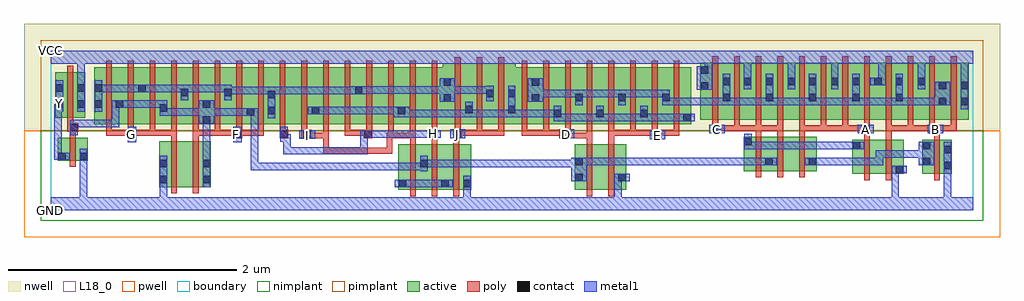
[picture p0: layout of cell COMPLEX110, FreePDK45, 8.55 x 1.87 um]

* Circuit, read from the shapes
.subckt COMPLEX110 A B C D E F G GND H I J VCC Y
M1 GND n1 Y VSUBS nfet w=0.2u l=0.05u
M2 n2 G GND VSUBS nfet w=0.4u l=0.05u
M3 n1 F n2 VSUBS nfet w=0.4u l=0.05u
M4 n1 I n3 VSUBS nfet w=0.4u l=0.05u
M5 n3 H n1 VSUBS nfet w=0.4u l=0.05u
M6 GND J n3 VSUBS nfet w=0.4u l=0.05u
M7 n4 D n1 VSUBS nfet w=0.4u l=0.05u
M8 GND E n4 VSUBS nfet w=0.4u l=0.05u
M9 n1 C n5 VSUBS nfet w=0.3u l=0.05u
M10 n6 C n1 VSUBS nfet w=0.3u l=0.05u
M11 n7 A n6 VSUBS nfet w=0.3u l=0.05u
M12 n8 A n5 VSUBS nfet w=0.3u l=0.05u
M13 GND B n8 VSUBS nfet w=0.3u l=0.05u
M14 GND B n7 VSUBS nfet w=0.3u l=0.05u
M15 VCC n1 Y n9 pfet w=0.4u l=0.05u
M16 n1 G n10 n9 pfet w=0.5u l=0.05u m=4
M17 n1 F n10 n9 pfet w=0.5u l=0.05u m=4
M18 n11 H n10 n9 pfet w=0.5u l=0.05u
M19 n12 I n11 n9 pfet w=0.5u l=0.05u
M20 n13 I n12 n9 pfet w=0.5u l=0.05u
M21 n10 H n13 n9 pfet w=0.5u l=0.05u
M22 n14 H n10 n9 pfet w=0.5u l=0.05u
M23 n12 I n14 n9 pfet w=0.5u l=0.05u
M24 n15 I n12 n9 pfet w=0.5u l=0.05u
M25 n10 H n15 n9 pfet w=0.5u l=0.05u
M26 n12 J n10 n9 pfet w=0.532u l=0.05u m=3
M27 n16 D n12 n9 pfet w=0.5u l=0.05u m=4
M28 n16 E n12 n9 pfet w=0.5u l=0.05u m=4
M29 n16 C VCC n9 pfet w=0.5u l=0.05u m=4
M30 n16 A VCC n9 pfet w=0.5u l=0.05u m=4
M31 n16 B VCC n9 pfet w=0.5u l=0.05u m=4
.ends

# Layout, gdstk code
import gdstk
lib = gdstk.Library(unit=1e-6, precision=1e-09)
def R(c, l, rs):  # rectangles x0, y0, x1, y1
    for r in rs: c.add(gdstk.rectangle(r[:2], r[2:], *l))
def A(c, l, x, y, w, h, nx, ny, dx, dy):  # array of equal rectangles
    R(c, l, [(x+i*dx, y+j*dy, x+i*dx+w, y+j*dy+h) for i in range(nx) for j in range(ny)])
active = (1, 0)
pwell = (2, 0)
nwell = (3, 0)
nimplant = (4, 0)
pimplant = (5, 0)
poly = (9, 0)
contact = (10, 0)
metal1 = (11, 0)
L18_0 = (18, 0)
boundary = (235, 0)

complex110 = lib.new_cell('COMPLEX110')
A(complex110, active, 1.135, 0.755, 0.075, 0.445, 3, 1, 0.38, 0)
A(complex110, active, 6.45, 0.795, 0.075, 0.5, 4, 1, 0.38, 0)
A(complex110, active, 6.45, 0.795, 0.26, 0.5, 4, 1, 0.38, 0)
A(complex110, active, 6.635, 0.795, 0.075, 0.405, 4, 1, 0.38, 0)
A(complex110, active, 6.635, 0.795, 0.27, 0.5, 3, 1, 0.38, 0)
R(complex110, active, [(3.042,0.18,3.307,0.58), (3.232,0.18,3.492,0.58), (3.417,0.18,3.682,0.58), (3.607,0.18,3.682,0.58), (4.59,0.18,4.815,0.58), (4.815,0.18,5.04,0.58), (4.965,0.18,5.04,0.58), (3.042,0.2,3.117,0.58), (3.417,0.2,3.492,0.492), (4.59,0.2,4.665,0.58), (0.95,0.205,1.025,0.605), (0.95,0.205,1.175,0.605), (1.175,0.205,1.4,0.605), (1.325,0.205,1.4,0.605), (3.232,0.245,3.307,0.492), (7.02,0.32,7.245,0.62), (7.245,0.32,7.47,0.62), (7.395,0.32,7.47,0.62), (7.632,0.32,7.707,0.62), (7.632,0.32,7.892,0.62), (7.817,0.32,7.892,0.62), (7.02,0.33,7.095,0.62), (6.07,0.345,6.145,0.645), (6.07,0.345,6.33,0.645), (6.255,0.345,6.485,0.645), (6.255,0.345,6.33,0.467), (6.485,0.345,6.71,0.645), (6.635,0.345,6.71,0.645), (0.062,0.437,0.137,0.637), (0.062,0.437,0.322,0.637), (0.247,0.437,0.322,0.637), (0.38,0.755,0.64,1.255), (0.38,0.755,0.455,1.2), (0.565,0.755,0.835,1.255), (0.565,0.755,0.64,1.07), (0.76,0.755,1.025,1.255), (0.76,0.755,0.835,1.2), (0.95,0.755,1.21,1.255), (0.95,0.755,1.025,1.07), (1.135,0.755,1.4,1.255), (1.325,0.755,1.59,1.255), (1.325,0.755,1.4,1.07), (1.515,0.755,1.785,1.255), (1.71,0.755,1.97,1.255), (1.71,0.755,1.785,1.07), (1.895,0.755,2.125,1.255), (2.125,0.755,2.355,1.255), (2.28,0.755,2.355,1.07), (2.28,0.755,2.505,1.255), (2.505,0.755,2.735,1.255), (2.66,0.755,2.735,1.2), (2.66,0.755,2.885,1.255), (2.885,0.755,3.11,1.255), (3.035,0.755,3.11,1.07), (3.035,0.755,3.265,1.255), (3.265,0.755,3.51,1.255), (3.435,0.755,3.7,1.287), (3.625,0.755,3.7,1.07), (3.625,0.755,3.885,1.287), (3.81,0.755,3.885,1.2), (3.81,0.755,4.075,1.287), (4,0.755,4.075,1.2), (4,0.755,4.285,1.255), (4.21,0.755,4.475,1.255), (4.21,0.755,4.285,1.2), (4.4,0.755,4.665,1.255), (4.4,0.755,4.475,1.07), (4.59,0.755,4.85,1.255), (4.59,0.755,4.665,1.2), (4.775,0.755,5.04,1.255), (4.775,0.755,4.85,1.07), (4.965,0.755,5.235,1.255), (4.965,0.755,5.04,1.2), (5.16,0.755,5.425,1.255), (5.16,0.755,5.235,1.07), (5.35,0.755,5.61,1.255), (5.35,0.755,5.425,1.2), (5.535,0.755,5.61,1.047), (5.69,0.795,5.955,1.295), (5.88,0.795,5.955,1.2), (5.88,0.795,6.14,1.295), (6.065,0.795,6.14,1.295), (6.065,0.795,6.335,1.295), (6.26,0.795,6.525,1.295), (6.26,0.795,6.335,1.2), (7.775,0.795,8.04,1.295), (7.965,0.795,8.04,1.295), (3.435,0.807,3.51,1.2), (5.69,0.807,5.765,1.295), (0.04,0.812,0.3,1.212), (0.04,0.812,0.115,1.155), (0.225,0.812,0.3,1.212)])
R(complex110, pwell, [(-0.235,-0.235,8.315,0.7)])
R(complex110, nwell, [(-0.235,0.7,8.315,1.635)])
R(complex110, nimplant, [(-0.09,-0.09,8.17,0.7)])
R(complex110, pimplant, [(-0.09,0.7,8.17,1.49)])
A(complex110, poly, 3.147, 0.125, 0.05, 0.51, 3, 1, 0.19, 0)
A(complex110, poly, 6.175, 0.29, 0.05, 0.41, 3, 1, 0.19, 0)
A(complex110, poly, 3.147, 0.585, 0.05, 0.095, 3, 1, 0.19, 0)
A(complex110, poly, 6.175, 0.65, 0.05, 0.095, 3, 1, 0.19, 0)
A(complex110, poly, 0.485, 0.655, 0.05, 0.095, 10, 1, 0.19, 0)
A(complex110, poly, 0.485, 0.655, 0.24, 0.05, 4, 1, 0.38, 0)
A(complex110, poly, 1.055, 0.655, 0.05, 0.05, 3, 1, 0.19, 0)
A(complex110, poly, 3.54, 0.655, 0.05, 0.095, 3, 1, 0.19, 0)
A(complex110, poly, 4.125, 0.655, 0.05, 0.095, 3, 1, 0.19, 0)
A(complex110, poly, 4.885, 0.655, 0.05, 0.095, 4, 1, 0.19, 0)
A(complex110, poly, 5.795, 0.695, 0.05, 0.095, 12, 1, 0.19, 0)
A(complex110, poly, 6.175, 0.695, 0.05, 0.05, 3, 1, 0.19, 0)
A(complex110, poly, 6.555, 0.695, 0.05, 0.05, 3, 1, 0.19, 0)
A(complex110, poly, 0.485, 0.7, 0.05, 0.61, 16, 1, 0.19, 0)
A(complex110, poly, 3.54, 0.7, 0.05, 0.642, 3, 1, 0.19, 0)
A(complex110, poly, 4.125, 0.7, 0.05, 0.61, 8, 1, 0.19, 0)
A(complex110, poly, 5.795, 0.74, 0.05, 0.61, 12, 1, 0.19, 0)
R(complex110, poly, [(4.695,0.125,4.745,0.635), (4.885,0.125,4.935,0.635), (1.055,0.15,1.105,0.66), (1.245,0.15,1.295,0.66), (7.125,0.265,7.175,0.675), (7.315,0.265,7.365,0.675), (7.737,0.265,7.787,0.675), (0.167,0.382,0.217,0.692), (2.385,0.497,2.435,0.547), (2.385,0.497,2.435,0.547), (2.385,0.497,2.435,0.547), (2.385,0.497,2.435,0.547), (2.385,0.497,2.435,0.547), (2.385,0.497,2.435,0.68), (2.385,0.497,2.567,0.547), (2.517,0.497,2.567,0.547), (2.517,0.497,2.86,0.547), (2.81,0.497,2.86,0.547), (2.81,0.497,2.86,0.547), (2.81,0.497,2.86,0.547), (2.81,0.497,2.992,0.547), (2.942,0.497,2.992,0.547), (2.942,0.497,2.992,0.547), (2.942,0.497,2.992,0.547), (2.942,0.497,2.992,0.68), (4.695,0.585,4.745,0.68), (4.885,0.585,4.935,0.705), (1.055,0.61,1.105,0.705), (1.245,0.61,1.295,0.705), (7.125,0.625,7.175,0.72), (7.315,0.625,7.365,0.745), (7.737,0.625,7.787,0.72), (0.675,0.63,0.75,0.705), (1.6,0.63,1.675,0.705), (2.005,0.63,2.08,0.705), (2.195,0.63,2.28,0.705), (2.23,0.63,2.28,0.68), (2.23,0.63,2.28,0.68), (2.23,0.63,2.435,0.68), (2.385,0.63,2.435,0.68), (2.385,0.63,2.435,0.75), (2.74,0.63,2.815,0.705), (2.942,0.63,2.992,0.68), (2.942,0.63,2.992,0.68), (2.942,0.63,3.005,0.68), (2.955,0.63,3.195,0.68), (2.955,0.63,3.005,0.75), (3.145,0.63,3.195,0.68), (3.145,0.63,3.195,0.68), (3.145,0.63,3.195,0.75), (3.145,0.63,3.197,0.68), (3.312,0.63,3.387,0.705), (3.527,0.63,3.602,0.705), (4.482,0.63,4.557,0.705), (4.507,0.63,4.745,0.68), (4.695,0.63,4.745,0.68), (4.695,0.63,4.745,0.68), (4.695,0.63,4.745,0.68), (4.695,0.63,4.745,0.75), (5.265,0.63,5.352,0.705), (0.167,0.642,0.217,0.737), (0.485,0.655,0.535,0.705), (0.485,0.655,0.535,0.705), (0.485,0.655,0.535,0.705), (0.7,0.655,0.915,0.705), (0.865,0.655,0.915,0.705), (0.865,0.655,0.915,0.705), (0.865,0.655,0.915,0.705), (1.055,0.655,1.105,0.705), (1.055,0.655,1.105,0.705), (1.435,0.655,1.485,0.705), (1.435,0.655,1.485,0.705), (1.435,0.655,1.65,0.705), (1.6,0.655,1.65,0.705), (1.6,0.655,1.65,0.705), (1.815,0.655,1.865,0.705), (1.815,0.655,1.865,0.705), (1.815,0.655,1.865,0.705), (2.575,0.655,2.625,0.75), (2.575,0.655,2.625,0.705), (2.575,0.655,2.625,0.705), (2.575,0.655,2.625,0.705), (2.575,0.655,2.79,0.705), (2.765,0.655,2.815,0.75), (3.335,0.655,3.385,0.75), (3.552,0.655,3.602,0.705), (3.552,0.655,3.602,0.705), (3.552,0.655,3.78,0.705), (3.73,0.655,3.78,0.705), (3.73,0.655,3.97,0.705), (3.92,0.655,3.97,0.705), (3.92,0.655,3.97,0.705), (3.92,0.655,3.97,0.705), (4.125,0.655,4.175,0.705), (4.125,0.655,4.175,0.705), (4.125,0.655,4.175,0.705), (4.125,0.655,4.365,0.705), (4.315,0.655,4.365,0.705), (4.315,0.655,4.365,0.705), (4.315,0.655,4.365,0.705), (4.315,0.655,4.532,0.705), (4.885,0.655,4.935,0.705), (4.885,0.655,5.125,0.705), (5.075,0.655,5.125,0.705), (5.075,0.655,5.125,0.705), (5.075,0.655,5.125,0.705), (5.075,0.655,5.315,0.705), (5.265,0.655,5.315,0.705), (5.265,0.655,5.315,0.705), (5.302,0.655,5.505,0.705), (5.455,0.655,5.505,0.705), (5.455,0.655,5.505,0.705), (5.455,0.655,5.505,0.705), (5.795,0.67,5.872,0.745), (7.1,0.67,7.175,0.745), (7.695,0.67,7.787,0.745), (0.145,0.687,0.24,0.762), (5.822,0.695,5.872,0.745), (5.822,0.695,5.872,0.745), (5.822,0.695,6.035,0.745), (5.985,0.695,6.035,0.745), (5.985,0.695,6.035,0.745), (5.985,0.695,6.035,0.745), (5.985,0.695,6.225,0.745), (6.175,0.695,6.225,0.745), (6.175,0.695,6.225,0.745), (6.175,0.695,6.415,0.745), (6.555,0.695,6.605,0.745), (6.555,0.695,6.795,0.745), (6.745,0.695,6.985,0.745), (6.935,0.695,6.985,0.745), (6.935,0.695,6.985,0.745), (6.935,0.695,7.15,0.745), (7.1,0.695,7.15,0.745), (7.1,0.695,7.15,0.745), (7.315,0.695,7.365,0.745), (7.315,0.695,7.555,0.745), (7.505,0.695,7.555,0.745), (7.505,0.695,7.555,0.745), (7.505,0.695,7.555,0.745), (7.505,0.695,7.745,0.745), (7.695,0.695,7.745,0.745), (7.695,0.695,7.745,0.745), (7.737,0.695,7.935,0.745), (7.885,0.695,7.935,0.745), (7.885,0.695,7.935,0.745), (7.885,0.695,7.935,0.745), (0.145,0.712,0.195,0.807), (0.145,0.757,0.195,1.267)])
A(complex110, contact, 6.64, 0.955, 0.065, 0.065, 3, 1, 0.38, 0)
R(complex110, contact, [(3.047,0.205,3.112,0.27), (3.422,0.205,3.487,0.27), (3.612,0.205,3.677,0.27), (0.955,0.24,1.02,0.305), (1.33,0.24,1.395,0.305), (4.595,0.257,4.66,0.322), (4.97,0.257,5.035,0.322), (7.4,0.325,7.465,0.39), (7.822,0.362,7.887,0.427), (3.237,0.377,3.302,0.442), (0.955,0.38,1.02,0.445), (1.33,0.38,1.395,0.445), (7.637,0.395,7.702,0.46), (4.595,0.397,4.66,0.462), (6.26,0.397,6.325,0.462), (6.64,0.397,6.705,0.462), (0.067,0.442,0.132,0.507), (0.252,0.442,0.317,0.507), (7.822,0.502,7.887,0.567), (7.025,0.535,7.09,0.6), (7.637,0.535,7.702,0.6), (6.075,0.57,6.14,0.635), (0.68,0.635,0.745,0.7), (1.605,0.635,1.67,0.7), (2.01,0.635,2.075,0.7), (2.21,0.635,2.275,0.7), (2.745,0.635,2.81,0.7), (3.317,0.635,3.382,0.7), (3.532,0.635,3.597,0.7), (4.487,0.635,4.552,0.7), (5.282,0.635,5.347,0.7), (5.802,0.675,5.867,0.74), (7.105,0.675,7.17,0.74), (7.717,0.675,7.782,0.74), (0.17,0.692,0.235,0.757), (1.33,0.76,1.395,0.825), (5.54,0.782,5.605,0.847), (4.405,0.817,4.47,0.882), (4.78,0.817,4.845,0.882), (5.165,0.817,5.23,0.882), (1.715,0.83,1.78,0.895), (1.9,0.842,1.965,0.907), (2.285,0.842,2.35,0.907), (3.04,0.842,3.105,0.907), (3.63,0.85,3.695,0.915), (4.005,0.85,4.07,0.915), (0.955,0.865,1.02,0.93), (0.045,0.9,0.11,0.965), (0.23,0.9,0.295,0.965), (0.385,0.9,0.45,0.965), (0.57,0.9,0.635,0.965), (1.33,0.9,1.395,0.965), (7.78,0.922,7.845,0.987), (7.97,0.922,8.035,0.987), (3.44,0.952,3.505,1.017), (4.215,0.952,4.28,1.017), (4.595,0.955,4.66,1.02), (4.97,0.955,5.035,1.02), (5.355,0.955,5.42,1.02), (5.885,0.955,5.95,1.02), (6.265,0.955,6.33,1.02), (1.9,0.982,1.965,1.047), (3.815,0.99,3.88,1.055), (4.005,0.99,4.07,1.055), (1.14,1.002,1.205,1.067), (1.52,1.002,1.585,1.067), (2.665,1.017,2.73,1.082), (0.765,1.037,0.83,1.102), (0.045,1.04,0.11,1.105), (0.23,1.04,0.295,1.105), (0.385,1.04,0.45,1.105), (5.695,1.057,5.76,1.122), (7.78,1.062,7.845,1.127), (7.97,1.062,8.035,1.127), (3.44,1.092,3.505,1.157), (4.215,1.092,4.28,1.157), (5.885,1.095,5.95,1.16), (6.07,1.095,6.135,1.16), (6.265,1.095,6.33,1.16), (6.455,1.095,6.52,1.16), (6.64,1.095,6.705,1.16), (6.835,1.095,6.9,1.16), (7.02,1.095,7.085,1.16), (7.215,1.095,7.28,1.16), (7.4,1.095,7.465,1.16), (7.595,1.095,7.66,1.16), (5.695,1.197,5.76,1.262)])
A(complex110, metal1, 6.302, 0.535, 0.203, 0.065, 3, 1, 0.275, 0)
A(complex110, metal1, 6.64, 0.92, 0.065, 0.275, 3, 1, 0.38, 0)
R(complex110, metal1, [(0,0,8.08,0.115), (0.252,0.05,0.317,0.115), (0.252,0.05,0.317,0.115), (0.252,0.05,0.317,0.115), (0.252,0.05,0.317,0.115), (0.252,0.05,0.317,0.115), (0.252,0.05,0.317,0.115), (0.252,0.05,0.317,0.472), (0.955,0.05,1.02,0.115), (0.955,0.05,1.02,0.115), (0.955,0.05,1.02,0.27), (3.612,0.05,3.677,0.115), (3.612,0.05,3.677,0.115), (3.612,0.05,3.677,0.235), (4.935,0.05,5,0.115), (4.935,0.05,5,0.115), (4.935,0.05,5,0.322), (7.365,0.05,7.43,0.39), (7.822,0.05,7.887,0.115), (7.822,0.05,7.887,0.115), (7.822,0.05,7.887,0.392), (3.612,0.17,3.677,0.305), (0.955,0.205,1.02,0.48), (1.33,0.205,1.395,0.48), (3.012,0.205,3.147,0.27), (3.082,0.205,3.165,0.27), (3.1,0.205,3.165,0.27), (3.1,0.205,3.315,0.27), (3.25,0.205,3.315,0.27), (3.25,0.205,3.315,0.27), (3.25,0.205,3.315,0.27), (3.25,0.205,3.452,0.27), (3.387,0.205,3.522,0.27), (4.56,0.257,4.695,0.462), (4.935,0.257,5.07,0.322), (7.365,0.325,7.43,0.39), (7.365,0.325,7.43,0.39), (7.365,0.325,7.43,0.39), (7.365,0.325,7.43,0.39), (7.365,0.325,7.5,0.39), (7.822,0.327,7.887,0.602), (7.822,0.327,7.887,0.392), (7.822,0.327,7.887,0.392), (3.237,0.342,3.302,0.477), (1.75,0.352,1.815,0.417), (1.75,0.352,1.815,0.417), (1.75,0.352,1.815,0.417), (1.75,0.352,1.965,0.417), (1.75,0.352,1.815,0.742), (1.9,0.352,1.965,0.417), (1.9,0.352,1.965,0.417), (1.9,0.352,1.965,0.417), (1.9,0.352,2.102,0.417), (2.037,0.352,2.102,0.417), (2.037,0.352,2.362,0.417), (2.297,0.352,2.362,0.417), (2.297,0.352,2.362,0.417), (2.297,0.352,2.362,0.417), (2.297,0.352,2.5,0.417), (2.435,0.352,2.5,0.417), (2.435,0.352,2.522,0.417), (2.457,0.352,2.522,0.417), (2.457,0.352,2.637,0.417), (2.572,0.352,2.637,0.417), (2.572,0.352,2.775,0.417), (2.71,0.352,2.775,0.417), (2.71,0.352,2.775,0.417), (2.71,0.352,2.775,0.417), (2.71,0.352,2.912,0.417), (2.847,0.352,2.912,0.417), (2.847,0.352,2.982,0.417), (2.917,0.352,2.982,0.417), (2.917,0.352,3.165,0.417), (3.1,0.352,3.165,0.417), (3.1,0.352,3.165,0.417), (3.1,0.352,3.165,0.417), (3.1,0.352,3.302,0.417), (3.237,0.377,3.302,0.442), (3.237,0.377,3.302,0.442), (3.237,0.377,3.54,0.442), (3.475,0.377,3.54,0.442), (3.475,0.377,3.677,0.442), (3.612,0.377,3.677,0.442), (3.612,0.377,3.677,0.442), (3.612,0.377,3.677,0.442), (3.612,0.377,3.932,0.442), (3.867,0.377,3.932,0.442), (3.867,0.377,3.932,0.442), (3.867,0.377,3.932,0.442), (3.867,0.377,4.07,0.442), (4.005,0.377,4.07,0.442), (4.005,0.377,4.07,0.442), (4.005,0.377,4.07,0.442), (4.005,0.377,4.207,0.442), (4.142,0.377,4.207,0.442), (4.142,0.377,4.207,0.442), (4.142,0.377,4.207,0.442), (4.142,0.377,4.345,0.442), (4.28,0.377,4.345,0.442), (4.28,0.377,4.487,0.442), (4.422,0.377,4.487,0.442), (4.422,0.377,4.625,0.442), (4.56,0.377,4.625,0.442), (4.56,0.377,4.625,0.442), (7.602,0.395,7.737,0.6), (4.63,0.397,4.862,0.462), (4.797,0.397,4.862,0.462), (4.797,0.397,4.862,0.462), (4.797,0.397,4.862,0.462), (4.797,0.397,5,0.462), (4.935,0.397,5,0.462), (4.935,0.397,5,0.462), (4.935,0.397,5,0.462), (4.935,0.397,5.172,0.462), (5.107,0.397,5.172,0.462), (5.107,0.397,5.172,0.462), (5.107,0.397,5.172,0.462), (5.107,0.397,5.432,0.462), (5.367,0.397,5.432,0.462), (5.367,0.397,5.432,0.462), (5.367,0.397,5.432,0.462), (5.367,0.397,5.587,0.462), (5.522,0.397,5.587,0.462), (5.522,0.397,5.587,0.462), (5.522,0.397,5.587,0.462), (5.522,0.397,5.812,0.462), (5.747,0.397,5.812,0.462), (5.747,0.397,5.812,0.462), (5.747,0.397,5.812,0.462), (5.747,0.397,5.95,0.462), (5.885,0.397,5.95,0.462), (5.885,0.397,6.087,0.462), (6.022,0.397,6.087,0.462), (6.022,0.397,6.087,0.462), (6.022,0.397,6.087,0.462), (6.022,0.397,6.29,0.462), (6.225,0.397,6.29,0.462), (6.225,0.397,6.29,0.462), (6.225,0.397,6.36,0.462), (6.605,0.397,6.74,0.462), (6.675,0.397,6.78,0.462), (6.715,0.397,6.78,0.462), (6.715,0.397,6.917,0.462), (6.852,0.397,6.917,0.462), (6.852,0.397,6.917,0.462), (6.852,0.397,6.917,0.462), (6.852,0.397,7.107,0.462), (7.042,0.397,7.107,0.462), (7.042,0.397,7.292,0.462), (7.227,0.397,7.292,0.462), (7.227,0.397,7.292,0.462), (7.227,0.397,7.292,0.527), (0.252,0.407,0.317,0.542), (1.33,0.415,1.395,0.825), (0.032,0.442,0.167,0.507), (0.032,0.442,0.097,0.93), (7.227,0.462,7.472,0.527), (7.407,0.462,7.472,0.527), (7.407,0.462,7.472,0.527), (7.407,0.462,7.472,0.527), (7.407,0.462,7.61,0.527), (7.545,0.462,7.61,0.527), (7.545,0.462,7.667,0.527), (2.037,0.49,2.102,0.555), (2.037,0.49,2.362,0.555), (2.037,0.49,2.102,0.665), (2.297,0.49,2.362,0.555), (2.297,0.49,2.362,0.555), (2.297,0.49,2.362,0.555), (2.297,0.49,2.5,0.555), (2.435,0.49,2.5,0.555), (2.435,0.49,2.522,0.555), (2.457,0.49,2.522,0.555), (2.457,0.49,2.637,0.555), (2.572,0.49,2.637,0.555), (2.572,0.49,2.775,0.555), (2.71,0.49,2.775,0.555), (2.71,0.49,2.775,0.7), (6.075,0.535,6.14,0.67), (6.075,0.535,6.367,0.6), (6.302,0.535,6.367,0.6), (6.302,0.535,6.367,0.6), (6.302,0.535,6.367,0.6), (6.44,0.535,6.505,0.6), (6.44,0.535,6.505,0.6), (6.44,0.535,6.505,0.6), (6.44,0.535,6.642,0.6), (6.577,0.535,6.642,0.6), (6.577,0.535,6.642,0.6), (6.577,0.535,6.642,0.6), (6.715,0.535,6.78,0.6), (6.715,0.535,6.917,0.6), (6.852,0.535,6.917,0.6), (6.852,0.535,6.917,0.6), (6.852,0.535,6.917,0.6), (6.99,0.535,7.125,0.6), (0.672,0.595,0.747,0.735), (1.597,0.595,1.672,0.735), (2.01,0.6,2.075,0.735), (2.01,0.6,2.102,0.665), (2.037,0.6,2.102,0.665), (5.247,0.622,5.382,0.7), (2.175,0.627,2.315,0.702), (3.497,0.632,3.632,0.71), (4.452,0.632,4.587,0.71), (2.71,0.635,2.775,0.7), (2.71,0.635,2.775,0.7), (2.71,0.635,2.845,0.7), (2.78,0.635,2.912,0.7), (2.847,0.635,2.912,0.7), (2.847,0.635,3.027,0.7), (2.962,0.635,3.027,0.7), (2.962,0.635,3.05,0.7), (2.985,0.635,3.05,0.7), (2.985,0.635,3.165,0.7), (3.1,0.635,3.165,0.7), (3.1,0.635,3.302,0.7), (3.237,0.635,3.302,0.7), (3.237,0.635,3.347,0.7), (3.282,0.635,3.417,0.702), (0.17,0.657,0.235,0.792), (5.767,0.675,5.902,0.752), (7.07,0.675,7.207,0.752), (7.682,0.675,7.817,0.752), (1.75,0.677,1.815,0.742), (1.75,0.677,1.815,0.742), (1.75,0.677,1.815,0.742), (1.75,0.677,1.815,0.742), (1.75,0.677,1.815,0.742), (1.75,0.677,1.815,0.742), (1.75,0.677,1.815,0.742), (1.75,0.677,1.815,0.895), (0.17,0.727,0.462,0.792), (0.397,0.727,0.462,0.792), (0.397,0.727,0.462,0.792), (0.397,0.727,0.462,0.792), (0.397,0.727,0.6,0.792), (0.535,0.727,0.6,0.792), (0.535,0.727,0.6,0.792), (0.535,0.727,0.6,0.792), (0.535,0.727,0.6,0.965), (1.295,0.76,1.43,0.965), (1.33,0.76,1.395,0.825), (1.33,0.76,1.395,0.825), (1.33,0.76,1.395,0.825), (1.33,0.76,1.395,0.825), (4.405,0.782,4.47,0.917), (4.405,0.782,4.625,0.847), (4.56,0.782,4.625,0.847), (4.56,0.782,4.625,0.847), (4.56,0.782,4.625,0.847), (4.56,0.782,4.845,0.847), (4.78,0.782,4.845,0.847), (4.78,0.782,4.845,0.847), (4.78,0.782,4.845,0.917), (4.78,0.782,5.035,0.847), (4.97,0.782,5.035,0.847), (4.97,0.782,5.035,0.847), (4.97,0.782,5.035,0.847), (4.97,0.782,5.172,0.847), (5.107,0.782,5.172,0.847), (5.107,0.782,5.23,0.847), (5.165,0.782,5.23,0.917), (5.165,0.782,5.367,0.847), (5.302,0.782,5.367,0.847), (5.302,0.782,5.367,0.847), (5.302,0.782,5.367,0.847), (5.302,0.782,5.57,0.847), (5.505,0.782,5.57,0.847), (5.505,0.782,5.57,0.847), (5.505,0.782,5.64,0.847), (1.9,0.807,1.965,1.082), (3.005,0.815,3.14,0.907), (3.075,0.815,3.165,0.88), (3.1,0.815,3.165,0.88), (3.1,0.815,3.302,0.88), (3.237,0.815,3.302,0.88), (3.237,0.815,3.302,0.88), (3.237,0.815,3.302,0.88), (3.237,0.815,3.54,0.88), (3.475,0.815,3.54,0.88), (3.475,0.815,3.54,0.88), (3.475,0.815,3.54,0.88), (3.475,0.815,3.695,0.88), (3.63,0.815,3.695,0.95), (3.63,0.815,3.832,0.88), (3.767,0.815,3.832,0.88), (3.767,0.815,3.832,0.88), (3.767,0.815,3.832,0.88), (3.767,0.815,4.07,0.88), (4.005,0.815,4.07,1.09), (4.005,0.815,4.07,0.88), (4.005,0.815,4.07,0.88), (4.005,0.815,4.207,0.88), (4.142,0.815,4.207,0.88), (4.142,0.815,4.207,0.88), (4.142,0.815,4.207,0.88), (4.142,0.815,4.345,0.88), (4.28,0.815,4.345,0.88), (4.28,0.815,4.47,0.88), (0.955,0.83,1.02,0.965), (0.955,0.83,1.157,0.895), (1.092,0.83,1.157,0.895), (1.092,0.83,1.157,0.895), (1.092,0.83,1.157,0.895), (1.092,0.83,1.36,0.895), (1.295,0.83,1.36,0.895), (1.295,0.83,1.36,0.895), (1.365,0.83,1.497,0.895), (1.432,0.83,1.497,0.895), (1.432,0.83,1.607,0.895), (1.542,0.83,1.607,0.895), (1.542,0.83,1.635,0.895), (1.57,0.83,1.635,0.895), (1.57,0.83,1.745,0.895), (1.68,0.83,1.815,0.895), (2.25,0.842,2.385,0.907), (2.32,0.842,2.5,0.907), (2.435,0.842,2.5,0.907), (2.435,0.842,2.522,0.907), (2.457,0.842,2.522,0.907), (2.457,0.842,2.637,0.907), (2.572,0.842,2.637,0.907), (2.572,0.842,2.775,0.907), (2.71,0.842,2.775,0.907), (2.71,0.842,2.775,0.907), (2.71,0.842,2.775,0.907), (2.71,0.842,2.912,0.907), (2.847,0.842,2.912,0.907), (2.847,0.842,3.027,0.907), (2.962,0.842,3.027,0.907), (2.962,0.842,3.07,0.907), (0.032,0.865,0.097,0.93), (0.032,0.865,0.097,0.93), (0.032,0.865,0.107,0.93), (0.042,0.865,0.107,0.93), (0.042,0.865,0.11,1.14), (0.23,0.865,0.295,1.14), (0.385,0.865,0.45,1.14), (7.97,0.887,8.035,1.162), (0.535,0.9,0.67,0.965), (0.592,0.9,0.657,0.965), (0.592,0.9,0.657,0.965), (0.592,0.9,0.882,0.965), (0.817,0.9,0.882,0.965), (0.817,0.9,0.882,0.965), (0.817,0.9,0.882,0.965), (0.817,0.9,1.02,0.965), (0.955,0.9,1.02,0.965), (0.955,0.9,1.02,0.965), (4.595,0.92,4.66,1.055), (4.97,0.92,5.035,1.055), (5.355,0.92,5.42,1.055), (5.355,0.92,5.587,0.985), (5.522,0.92,5.587,0.985), (5.522,0.92,5.587,0.985), (5.522,0.92,5.587,0.985), (5.522,0.92,5.725,0.985), (5.66,0.92,5.725,0.985), (5.66,0.92,5.95,0.985), (5.885,0.92,5.95,1.195), (5.885,0.92,5.95,0.985), (5.885,0.92,5.95,0.985), (5.885,0.92,6.152,0.985), (6.087,0.92,6.152,0.985), (6.087,0.92,6.152,0.985), (6.087,0.92,6.152,0.985), (6.087,0.92,6.33,0.985), (6.265,0.92,6.33,1.195), (6.265,0.92,6.33,0.985), (6.265,0.92,6.33,0.985), (6.64,0.92,6.78,0.985), (6.715,0.92,6.78,0.985), (6.715,0.92,6.917,0.985), (6.852,0.92,6.917,0.985), (6.852,0.92,6.917,0.985), (6.852,0.92,6.917,0.985), (6.852,0.92,7.085,0.985), (7.02,0.92,7.245,0.985), (7.18,0.92,7.245,0.985), (7.18,0.92,7.245,0.985), (7.18,0.92,7.245,0.985), (7.18,0.92,7.43,0.985), (7.365,0.92,7.43,0.985), (7.365,0.92,7.465,0.985), (6.265,0.922,6.505,0.987), (6.44,0.922,6.505,0.987), (6.44,0.922,6.505,0.987), (6.44,0.922,6.505,0.987), (6.44,0.922,6.642,0.987), (6.577,0.922,6.642,0.987), (6.577,0.922,6.705,0.987), (7.4,0.922,7.61,0.987), (7.545,0.922,7.61,0.987), (7.545,0.922,7.637,0.987), (7.572,0.922,7.637,0.987), (7.572,0.922,7.81,0.987), (7.745,0.922,7.81,0.987), (7.745,0.922,7.81,0.987), (7.745,0.922,7.88,1.127), (3.405,0.952,3.54,1.157), (4.18,0.952,4.315,1.157), (3.815,0.955,3.88,1.09), (1.14,0.967,1.205,1.102), (1.52,0.967,1.585,1.102), (4.25,0.99,4.345,1.055), (4.28,0.99,4.345,1.055), (4.28,0.99,4.452,1.055), (4.387,0.99,4.452,1.055), (4.387,0.99,4.66,1.055), (4.595,0.99,4.66,1.055), (4.595,0.99,4.66,1.055), (4.595,0.99,4.862,1.055), (4.797,0.99,4.862,1.055), (4.797,0.99,4.862,1.055), (4.797,0.99,4.862,1.055), (4.797,0.99,5.035,1.055), (4.97,0.99,5.035,1.055), (4.97,0.99,5.035,1.055), (4.97,0.99,5.172,1.055), (5.107,0.99,5.172,1.055), (5.107,0.99,5.172,1.055), (5.107,0.99,5.172,1.055), (5.107,0.99,5.42,1.055), (5.355,0.99,5.42,1.055), (5.355,0.99,5.42,1.055), (1.52,1.017,1.677,1.082), (1.612,1.017,1.677,1.082), (1.612,1.017,1.827,1.082), (1.762,1.017,1.827,1.082), (1.762,1.017,1.827,1.082), (1.762,1.017,1.827,1.082), (1.762,1.017,1.965,1.082), (1.9,1.017,2.102,1.082), (2.037,1.017,2.102,1.082), (2.037,1.017,2.102,1.082), (2.037,1.017,2.102,1.082), (2.037,1.017,2.362,1.082), (2.297,1.017,2.362,1.082), (2.297,1.017,2.362,1.082), (2.297,1.017,2.362,1.082), (2.297,1.017,2.5,1.082), (2.435,1.017,2.5,1.082), (2.435,1.017,2.557,1.082), (2.492,1.017,2.557,1.082), (2.492,1.017,2.637,1.082), (2.572,1.017,2.637,1.082), (2.572,1.017,2.695,1.082), (2.63,1.017,2.765,1.087), (2.7,1.022,2.775,1.087), (2.71,1.022,2.775,1.087), (2.71,1.022,2.912,1.087), (2.847,1.022,2.912,1.087), (2.847,1.022,3.027,1.087), (2.962,1.022,3.027,1.087), (2.962,1.022,3.05,1.087), (2.985,1.022,3.05,1.087), (2.985,1.022,3.165,1.087), (3.1,1.022,3.165,1.087), (3.1,1.022,3.302,1.087), (3.237,1.022,3.302,1.087), (3.237,1.022,3.302,1.087), (3.237,1.022,3.302,1.087), (3.237,1.022,3.47,1.087), (3.475,1.022,3.695,1.087), (3.63,1.022,3.695,1.087), (3.63,1.022,3.695,1.087), (3.63,1.022,3.695,1.087), (3.63,1.022,3.88,1.087), (3.815,1.022,3.88,1.087), (3.815,1.022,3.88,1.087), (0.385,1.037,0.6,1.102), (0.535,1.037,0.6,1.102), (0.535,1.037,0.6,1.102), (0.535,1.037,0.6,1.102), (0.535,1.037,0.795,1.102), (0.73,1.037,0.795,1.102), (0.73,1.037,0.795,1.102), (0.73,1.037,0.865,1.102), (0.8,1.037,1.02,1.102), (0.955,1.037,1.02,1.102), (0.955,1.037,1.02,1.102), (0.955,1.037,1.02,1.102), (0.955,1.037,1.205,1.102), (1.14,1.037,1.205,1.102), (1.14,1.037,1.205,1.102), (1.14,1.037,1.36,1.102), (1.295,1.037,1.36,1.102), (1.295,1.037,1.36,1.102), (1.295,1.037,1.36,1.102), (1.295,1.037,1.497,1.102), (1.432,1.037,1.497,1.102), (1.432,1.037,1.585,1.102), (5.66,1.057,5.795,1.262), (6.07,1.06,6.135,1.195), (6.455,1.06,6.52,1.195), (6.835,1.06,6.9,1.195), (7.595,1.06,7.66,1.195), (0.23,1.075,0.295,1.35), (7.18,1.095,7.315,1.16), (7.25,1.095,7.315,1.35), (7.97,1.097,8.035,1.35), (6.07,1.13,6.135,1.35), (6.455,1.13,6.52,1.35), (6.835,1.13,6.9,1.35), (7.595,1.13,7.66,1.35), (5.73,1.197,5.795,1.35), (0,1.285,8.08,1.4)])
R(complex110, L18_0, [(0,0,8.08,0.115), (0.252,0.05,0.317,0.115), (0.252,0.05,0.317,0.115), (0.252,0.05,0.317,0.115), (0.252,0.05,0.317,0.115), (0.252,0.05,0.317,0.115), (0.252,0.05,0.317,0.115), (0.252,0.05,0.317,0.472), (0.955,0.05,1.02,0.115), (0.955,0.05,1.02,0.115), (0.955,0.05,1.02,0.27), (3.612,0.05,3.677,0.115), (3.612,0.05,3.677,0.115), (3.612,0.05,3.677,0.235), (4.935,0.05,5,0.115), (4.935,0.05,5,0.115), (4.935,0.05,5,0.322), (7.365,0.05,7.43,0.39), (7.822,0.05,7.887,0.115), (7.822,0.05,7.887,0.115), (7.822,0.05,7.887,0.392), (3.612,0.17,3.677,0.305), (0.955,0.205,1.02,0.48), (4.935,0.257,5.07,0.322), (7.365,0.325,7.5,0.39), (7.365,0.325,7.43,0.39), (7.365,0.325,7.43,0.39), (7.365,0.325,7.43,0.39), (7.365,0.325,7.43,0.39), (7.822,0.327,7.887,0.392), (7.822,0.327,7.887,0.392), (7.822,0.327,7.887,0.602), (0.252,0.407,0.317,0.542), (0.032,0.442,0.167,0.507), (0.032,0.442,0.097,0.93), (2.037,0.49,2.102,0.555), (2.037,0.49,2.102,0.665), (2.037,0.49,2.362,0.555), (2.297,0.49,2.362,0.555), (2.297,0.49,2.362,0.555), (2.297,0.49,2.362,0.555), (2.297,0.49,2.5,0.555), (2.435,0.49,2.5,0.555), (2.435,0.49,2.522,0.555), (2.457,0.49,2.522,0.555), (2.457,0.49,2.637,0.555), (2.572,0.49,2.637,0.555), (2.572,0.49,2.775,0.555), (2.71,0.49,2.775,0.555), (2.71,0.49,2.775,0.7), (0.672,0.595,0.747,0.735), (1.597,0.595,1.672,0.735), (2.01,0.6,2.075,0.735), (2.01,0.6,2.102,0.665), (2.037,0.6,2.102,0.665), (5.247,0.622,5.382,0.7), (5.282,0.622,5.347,0.687), (2.175,0.627,2.315,0.702), (2.212,0.627,2.277,0.692), (0.672,0.632,0.737,0.697), (1.597,0.632,1.662,0.697), (3.497,0.632,3.632,0.71), (3.532,0.632,3.597,0.697), (4.452,0.632,4.587,0.71), (4.487,0.632,4.552,0.697), (2.71,0.635,2.845,0.7), (2.71,0.635,2.775,0.7), (2.71,0.635,2.775,0.7), (2.78,0.635,2.912,0.7), (2.847,0.635,2.912,0.7), (2.847,0.635,3.027,0.7), (2.962,0.635,3.027,0.7), (2.962,0.635,3.05,0.7), (2.985,0.635,3.05,0.7), (2.985,0.635,3.165,0.7), (3.1,0.635,3.165,0.7), (3.1,0.635,3.302,0.7), (3.237,0.635,3.302,0.7), (3.237,0.635,3.347,0.7), (3.282,0.635,3.417,0.702), (3.317,0.637,3.382,0.702), (5.767,0.675,5.902,0.752), (7.07,0.675,7.207,0.752), (7.682,0.675,7.817,0.752), (5.802,0.677,5.867,0.742), (7.107,0.677,7.172,0.742), (7.717,0.677,7.782,0.742), (0.032,0.865,0.097,0.93), (0.032,0.865,0.097,0.93), (0.032,0.865,0.107,0.93), (0.042,0.865,0.107,0.93), (0.042,0.865,0.11,1.14), (0.23,0.865,0.295,1.14), (7.97,0.887,8.035,1.162), (0.042,0.902,0.107,0.967), (5.66,1.057,5.795,1.262), (6.07,1.06,6.135,1.195), (6.455,1.06,6.52,1.195), (6.835,1.06,6.9,1.195), (7.595,1.06,7.66,1.195), (0.23,1.075,0.295,1.35), (7.18,1.095,7.315,1.16), (7.25,1.095,7.315,1.35), (7.97,1.097,8.035,1.35), (6.07,1.13,6.135,1.35), (6.455,1.13,6.52,1.35), (6.835,1.13,6.9,1.35), (7.595,1.13,7.66,1.35), (5.73,1.197,5.795,1.35), (0,1.285,8.08,1.4)])
R(complex110, boundary, [(0,0,8.08,1.4)])
complex110.add(gdstk.Label('A', (7.14,0.71), layer=11, texttype=0))
complex110.add(gdstk.Label('B', (7.75,0.71), layer=11, texttype=0))
complex110.add(gdstk.Label('C', (5.835,0.71), layer=11, texttype=0))
complex110.add(gdstk.Label('D', (4.52,0.665), layer=11, texttype=0))
complex110.add(gdstk.Label('E', (5.315,0.655), layer=11, texttype=0))
complex110.add(gdstk.Label('F', (1.63,0.665), layer=11, texttype=0))
complex110.add(gdstk.Label('G', (0.705,0.665), layer=11, texttype=0))
complex110.add(gdstk.Label('H', (3.35,0.67), layer=11, texttype=0))
complex110.add(gdstk.Label('I', (2.245,0.66), layer=11, texttype=0))
complex110.add(gdstk.Label('J', (3.565,0.665), layer=11, texttype=0))
complex110.add(gdstk.Label('Y', (0.075,0.935), layer=11, texttype=0))
complex110.add(gdstk.Label('VCC', (0,1.4), layer=11, texttype=0))
complex110.add(gdstk.Label('GND', (0,0), layer=11, texttype=0))

lib.write_gds('COMPLEX110.gds')
